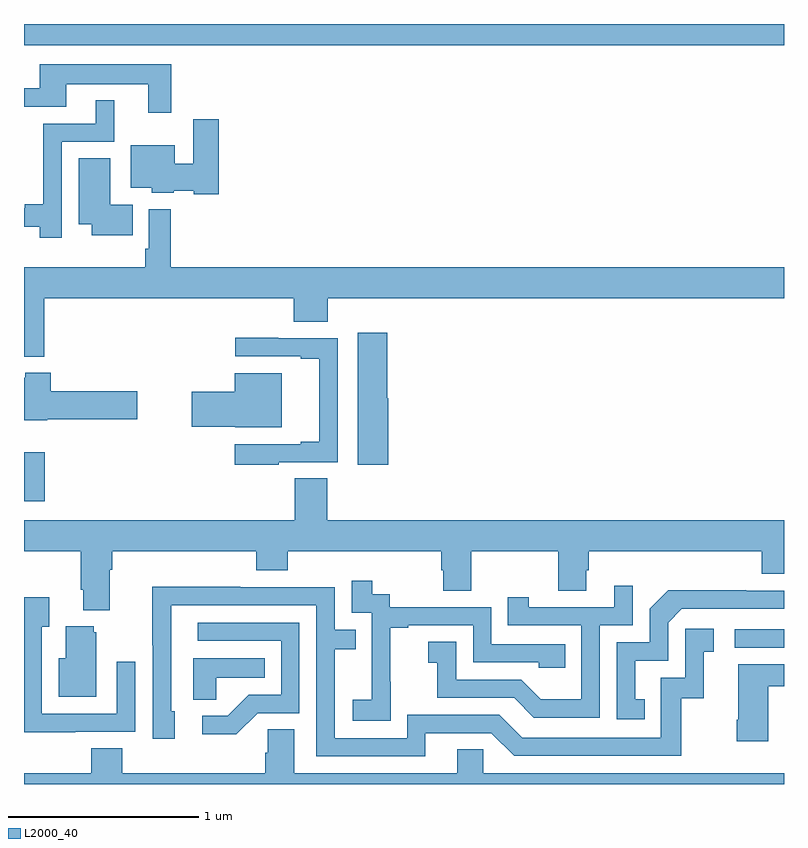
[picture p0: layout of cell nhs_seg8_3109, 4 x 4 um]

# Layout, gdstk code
import gdstk
lib = gdstk.Library(unit=1e-6, precision=1e-09)
def R(c, l, rs):  # rectangles x0, y0, x1, y1
    for r in rs: c.add(gdstk.rectangle(r[:2], r[2:], *l))
def P(c, l, *ps):  # polygons
    for p in ps: c.add(gdstk.Polygon(p, *l))
L2000_40 = (2000, 40)

nhs_seg8_3109 = lib.new_cell('nhs_seg8_3109')
R(nhs_seg8_3109, L2000_40, [(306.741,1158.618,307,1158.714), (303,1159.388,303.109,1159.645), (303,1161.788,307,1161.9)])
P(nhs_seg8_3109, L2000_40, [(303.775,1161.688),(303.083,1161.688),(303.083,1161.561),(303,1161.561),(303,1161.465),(303.223,1161.465),(303.223,1161.584),(303.653,1161.584),(303.653,1161.432),(303.775,1161.432)],
  [(303.198,1161.279),(303.475,1161.279),(303.475,1161.499),(303.377,1161.499),(303.377,1161.375),(303.101,1161.375),(303.101,1160.951),(303.005,1160.951),(303.005,1160.931),(303,1160.931),(303,1160.834),(303.082,1160.834),(303.082,1160.775),(303.198,1160.775)],
  [(304.025,1161.4),(303.89,1161.4),(303.89,1161.164),(303.793,1161.164),(303.793,1161.262),(303.563,1161.262),(303.563,1161.038),(303.672,1161.038),(303.672,1161.011),(303.789,1161.011),(303.789,1161.022),(303.894,1161.022),(303.894,1161.004),(304.025,1161.004)],
  [(303.572,1160.95),(303.454,1160.95),(303.454,1161.194),(303.287,1161.194),(303.287,1160.846),(303.356,1160.846),(303.356,1160.789),(303.572,1160.789)],
  [(303.107,1160.456),(304.421,1160.456),(304.421,1160.332),(304.598,1160.332),(304.598,1160.456),(307,1160.456),(307,1160.62),(303.773,1160.62),(303.773,1160.926),(303.657,1160.926),(303.657,1160.716),(303.637,1160.716),(303.637,1160.62),(303,1160.62),(303,1160.15),(303.107,1160.15)],
  [(304.918,1159.929),(304.913,1159.929),(304.913,1160.275),(304.757,1160.275),(304.757,1159.581),(304.918,1159.581)],
  [(304.34,1159.593),(304.65,1159.593),(304.65,1160.247),(304.337,1160.247),(304.337,1160.249),(304.113,1160.249),(304.113,1160.151),(304.457,1160.151),(304.457,1160.139),(304.553,1160.139),(304.553,1159.702),(304.457,1159.702),(304.457,1159.689),(304.11,1159.689),(304.11,1159.581),(304.34,1159.581)],
  [(303.123,1159.82),(303.595,1159.82),(303.595,1159.967),(303.14,1159.967),(303.14,1160.065),(303.006,1160.065),(303.006,1160.038),(303,1160.038),(303,1159.814),(303.123,1159.814)],
  [(304.357,1160.062),(304.109,1160.062),(304.109,1159.964),(303.882,1159.964),(303.882,1159.781),(304.113,1159.781),(304.113,1159.778),(304.357,1159.778)],
  [(303.451,1159.028),(303.464,1159.028),(303.464,1159.124),(304.223,1159.124),(304.223,1159.025),(304.388,1159.025),(304.388,1159.124),(305.195,1159.124),(305.195,1159.026),(305.207,1159.026),(305.207,1158.916),(305.355,1158.916),(305.355,1159.124),(305.812,1159.124),(305.812,1158.916),(305.959,1158.916),(305.959,1159.026),(305.972,1159.026),(305.972,1159.124),(306.884,1159.124),(306.884,1159.007),(307,1159.007),(307,1159.288),(304.595,1159.288),(304.595,1159.508),(304.424,1159.508),(304.424,1159.288),(303,1159.288),(303,1159.124),(303.299,1159.124),(303.299,1158.922),(303.311,1158.922),(303.311,1158.815),(303.451,1158.815)],
  [(304.929,1158.439),(304.928,1158.439),(304.928,1158.723),(305.023,1158.723),(305.023,1158.735),(305.364,1158.735),(305.364,1158.54),(305.709,1158.54),(305.709,1158.513),(305.849,1158.513),(305.849,1158.636),(305.46,1158.636),(305.46,1158.831),(304.926,1158.831),(304.926,1158.9),(304.834,1158.9),(304.834,1158.97),(304.725,1158.97),(304.725,1158.801),(304.83,1158.801),(304.83,1158.572),(304.829,1158.572),(304.829,1158.343),(304.731,1158.343),(304.731,1158.233),(304.929,1158.233)],
  [(306.03,1158.735),(306.204,1158.735),(306.204,1158.943),(306.107,1158.943),(306.107,1158.831),(305.656,1158.831),(305.656,1158.883),(305.545,1158.883),(305.545,1158.735),(305.934,1158.735),(305.934,1158.346),(305.72,1158.346),(305.616,1158.45),(305.274,1158.45),(305.274,1158.649),(305.127,1158.649),(305.127,1158.539),(305.176,1158.539),(305.176,1158.354),(305.579,1158.354),(305.684,1158.249),(306.03,1158.249)],
  [(305.113,1158.168),(305.46,1158.168),(305.58,1158.048),(306.46,1158.048),(306.46,1158.351),(306.578,1158.351),(306.578,1158.597),(306.631,1158.597),(306.631,1158.718),(306.48,1158.718),(306.48,1158.459),(306.351,1158.459),(306.351,1158.144),(305.622,1158.144),(305.502,1158.264),(305.016,1158.264),(305.016,1158.141),(304.635,1158.141),(304.635,1158.61),(304.745,1158.61),(304.745,1158.711),(304.635,1158.711),(304.635,1158.936),(304.139,1158.936),(304.139,1158.938),(303.676,1158.938),(303.676,1158.631),(303.678,1158.631),(303.678,1158.138),(303.793,1158.138),(303.793,1158.282),(303.774,1158.282),(303.774,1158.84),(304.539,1158.84),(304.539,1158.045),(305.113,1158.045)],
  [(306.266,1158.345),(306.217,1158.345),(306.217,1158.549),(306.39,1158.549),(306.39,1158.75),(306.462,1158.822),(307,1158.822),(307,1158.918),(306.8,1158.918),(306.8,1158.92),(306.392,1158.92),(306.294,1158.822),(306.294,1158.645),(306.12,1158.645),(306.12,1158.24),(306.266,1158.24)],
  [(303.269,1158.174),(303.585,1158.174),(303.585,1158.544),(303.489,1158.544),(303.489,1158.27),(303.093,1158.27),(303.093,1158.727),(303.133,1158.727),(303.133,1158.883),(303,1158.883),(303,1158.173),(303.269,1158.173)],
  [(304.23,1158.273),(304.449,1158.273),(304.449,1158.75),(303.915,1158.75),(303.915,1158.654),(304.353,1158.654),(304.353,1158.369),(304.184,1158.369),(304.073,1158.258),(303.939,1158.258),(303.939,1158.161),(304.117,1158.161)],
  [(303.379,1158.699),(303.368,1158.699),(303.368,1158.73),(303.221,1158.73),(303.221,1158.562),(303.182,1158.562),(303.182,1158.359),(303.379,1158.359)],
  [(304.011,1158.458),(304.268,1158.458),(304.268,1158.562),(303.89,1158.562),(303.89,1158.343),(304.011,1158.343)],
  [(306.916,1158.415),(307,1158.415),(307,1158.529),(306.758,1158.529),(306.758,1158.238),(306.751,1158.238),(306.751,1158.126),(306.916,1158.126)],
  [(307,1157.956),(305.418,1157.956),(305.418,1158.083),(305.279,1158.083),(305.279,1157.956),(304.423,1157.956),(304.423,1158.188),(304.284,1158.188),(304.284,1158.065),(304.271,1158.065),(304.271,1157.956),(303.518,1157.956),(303.518,1158.089),(303.353,1158.089),(303.353,1157.956),(303,1157.956),(303,1157.9),(307,1157.9)])

lib.write_gds('nhs_seg8_3109.gds')
